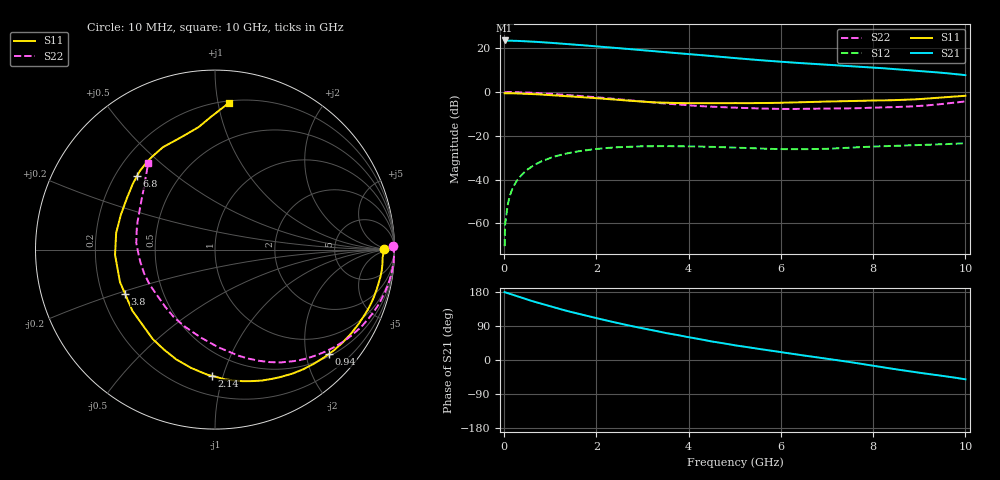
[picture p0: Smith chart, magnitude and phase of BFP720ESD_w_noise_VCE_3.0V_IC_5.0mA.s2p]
! Infineon Technologies  Discrete & RF Semiconductors
! BFP720ESD
! VCE =  3.0 V,  IC =  5.0 mA
! Common Emitter S-Parameters:  Jan 2016
# GHz  S  MA  R  50
!  f  S11  S21  S12  S22
! GHz  MAG  ANG  MAG  ANG  MAG  ANG  MAG  ANG
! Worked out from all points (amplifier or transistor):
!   233 points, 10 MHz to 10 GHz, reference 50 ohm
!   highest |S21| = 23.6 dB at 10 MHz (marker M1)
!   |S21| within 3 dB of that: start of sweep to 2.177 GHz
!   unconditionally stable (mu >= 1): start of sweep to 10.53 MHz; 5.787 GHz to 9.329 GHz
!   at 200 MHz: K = 0.05, MSG = 33.3 dB, |S12| = -43.2 dB
!   at 1.74 GHz: K = 0.27, MSG = 24.0 dB, |S12| = -26.7 dB
!   at 10 GHz: K = 0.71, MSG = 15.6 dB, |S12| = -23.4 dB
!   lowest NFmin = 0.54 dB at 450 MHz
!   S11 on the Smith chart (normalised r, x): 10 MHz: 32, +3; 940 MHz: 0.55, -2.47; 2.14 GHz: 0.33, -0.92; 3.8 GHz: 0.30, -0.21; 6.8 GHz: 0.29, +0.37; 10 GHz: 0.21, +1.08
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0.01  0.939 0.3  15.08 179.1  0.0003 5.1  0.9941 1.3
0.02  0.9409 -0.7  14.9 178.7  0.0009 78.3  0.9954 -0.3
0.06  0.9351 -2.9  14.87 177.0  0.002 87.2  0.9982 -1.7
0.2  0.9341 -9.2  14.86 171.5  0.0069 83.4  0.9947 -6.2
0.36  0.9239 -16.6  14.63 165.0  0.0121 78.6  0.9846 -11.2
0.6  0.9009 -27.4  14.18 155.7  0.0198 71.3  0.9618 -18.4
0.94  0.8611 -42.4  13.48 143.8  0.0295 61.6  0.9194 -28.1
1.3  0.815 -57.9  12.67 131.6  0.0382 52.0  0.8667 -37.9
1.68  0.7638 -73.4  11.79 119.6  0.0453 42.9  0.8078 -47.4
2.14  0.704 -91.3  10.75 106.5  0.0516 33.4  0.7374 -58.1
2.4  0.6723 -101.5  10.23 99.2  0.0543 28.4  0.6969 -64.1
2.78  0.6268 -116.4  9.455 89.0  0.0567 21.4  0.6368 -72.7
3.4  0.5745 -139.6  8.291 74.0  0.0578 12.4  0.5554 -85.7
3.8  0.5584 -154.0  7.652 64.9  0.0576 7.8  0.5141 -94.2
4.5  0.5577 -177.0  6.659 48.9  0.0561 1.0  0.4621 -110.9
5.1  0.557 168.4  5.843 37.1  0.0532 -2.4  0.436 -123.3
6  0.5683 149.8  4.928 20.7  0.0494 -2.9  0.4112 -141.1
6.8  0.5974 136.5  4.326 6.8  0.05 -0.4  0.4137 -157.5
7.6  0.6249 124.2  3.87 -7.4  0.054 1.0  0.4255 -174.9
8.4  0.6492 108.8  3.378 -22.8  0.0585 -1.1  0.4507 165.3
9  0.6887 97.6  3.022 -33.6  0.0615 -2.8  0.4805 150.1
10  0.8214 84.5  2.432 -51.0  0.0676 -6.5  0.6098 127.6
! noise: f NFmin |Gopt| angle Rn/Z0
0.45  0.54  0.48  5  0.15
0.9  0.58  0.47  13  0.15
1.9  0.62  0.41  32  0.14
2.4  0.67  0.38  38  0.14
5.5  0.9  0.17  118  0.09
10  1.55  0.55  -99  0.38
